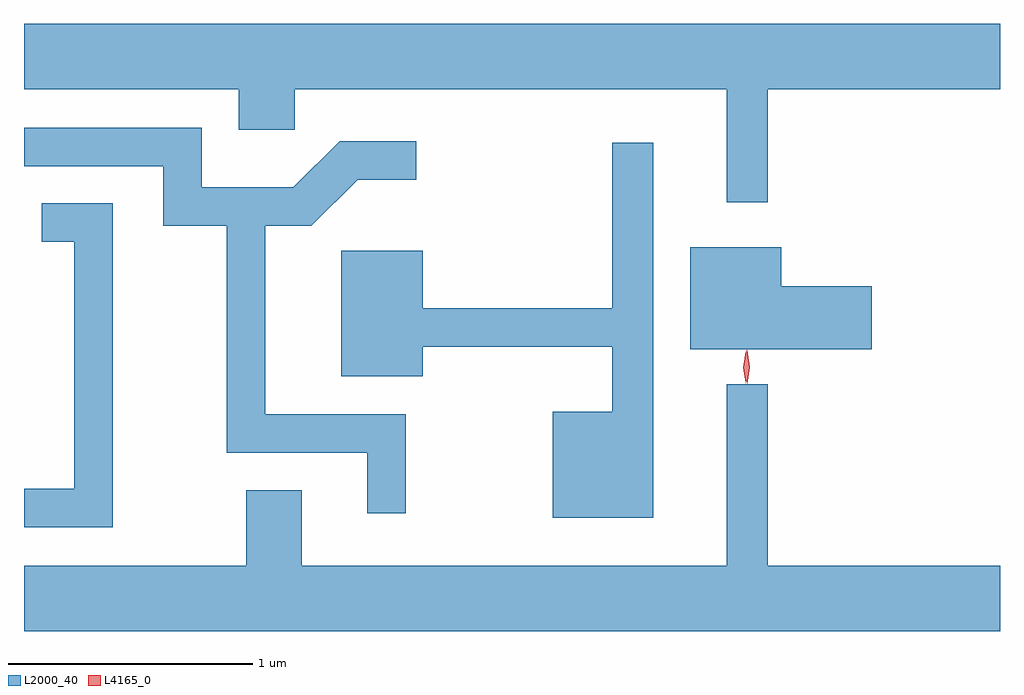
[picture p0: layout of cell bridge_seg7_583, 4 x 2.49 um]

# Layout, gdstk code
import gdstk
lib = gdstk.Library(unit=1e-6, precision=1e-09)
def P(c, l, *ps):  # polygons
    for p in ps: c.add(gdstk.Polygon(p, *l))
L2000_40 = (2000, 40)
L4165_0 = (4165, 0)

bridge_seg7_583 = lib.new_cell('bridge_seg7_583')
P(bridge_seg7_583, L2000_40, [(705.319,1747.616),(706.27,1747.616),(706.27,1747.884),(702.27,1747.884),(702.27,1747.616),(703.151,1747.616),(703.151,1747.451),(703.379,1747.451),(703.379,1747.616),(705.151,1747.616),(705.151,1747.153),(705.319,1747.153)],
  [(703.834,1746.284),(703.259,1746.284),(703.259,1747.056),(703.447,1747.056),(703.637,1747.246),(703.878,1747.246),(703.878,1747.404),(703.564,1747.404),(703.374,1747.214),(702.999,1747.214),(702.999,1747.459),(702.27,1747.459),(702.27,1747.301),(702.841,1747.301),(702.841,1747.056),(703.101,1747.056),(703.101,1746.126),(703.676,1746.126),(703.676,1745.878),(703.834,1745.878)],
  [(704.849,1747.398),(704.681,1747.398),(704.681,1746.719),(703.904,1746.719),(703.904,1746.954),(703.571,1746.954),(703.571,1746.441),(703.904,1746.441),(703.904,1746.561),(704.681,1746.561),(704.681,1746.294),(704.436,1746.294),(704.436,1745.861),(704.849,1745.861)],
  [(702.634,1747.149),(702.343,1747.149),(702.343,1746.991),(702.476,1746.991),(702.476,1745.979),(702.27,1745.979),(702.27,1745.821),(702.634,1745.821)],
  [(705.744,1746.809),(705.374,1746.809),(705.374,1746.969),(705.001,1746.969),(705.001,1746.551),(705.744,1746.551)],
  [(706.27,1745.664),(705.319,1745.664),(705.319,1746.408),(705.151,1746.408),(705.151,1745.664),(703.409,1745.664),(703.409,1745.974),(703.181,1745.974),(703.181,1745.664),(702.27,1745.664),(702.27,1745.396),(706.27,1745.396)])
P(bridge_seg7_583, L4165_0, [(705.234,1746.41),(705.224,1746.478),(705.233,1746.546),(705.234,1746.546),(705.234,1746.546),(705.244,1746.478),(705.235,1746.41),(705.235,1746.41)],
  [(705.228,1746.413),(705.228,1746.413),(705.218,1746.476),(705.227,1746.54),(705.228,1746.54),(705.228,1746.54),(705.238,1746.476),(705.229,1746.413)])

lib.write_gds('bridge_seg7_583.gds')
